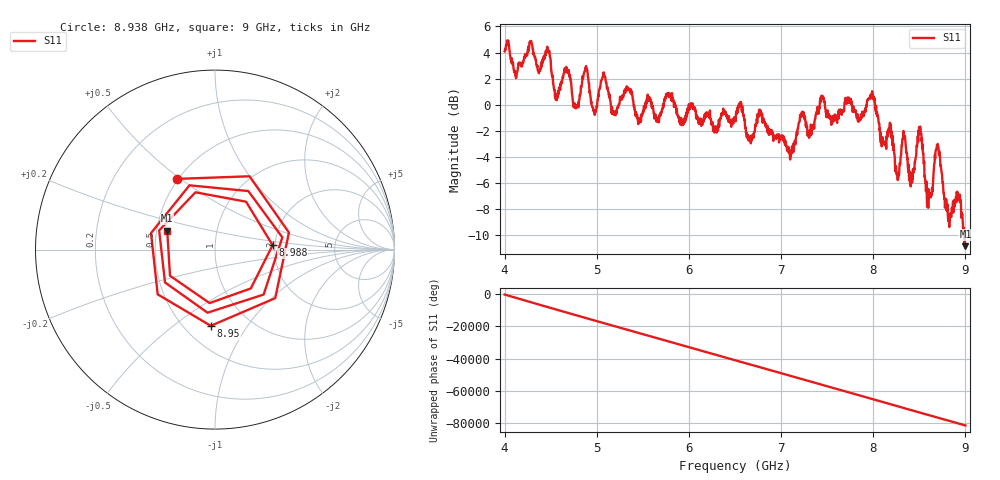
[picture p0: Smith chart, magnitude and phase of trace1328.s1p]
! Created with skrf 1.8.0 (http://scikit-rf.org).
# Hz S RI R 50.0
!freq ReS11 ImS11
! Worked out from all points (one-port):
!   1601 points, 4 GHz to 9 GHz, reference 50 ohm
!   lowest |S11| = -10.9 dB at 9 GHz (marker M1), VSWR 1.80, Z = 28.4 + j6.56 ohm
!   |S11| at or under -10 dB: 8.988603 GHz to end of sweep
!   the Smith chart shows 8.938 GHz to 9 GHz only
!   S11 on the Smith chart (normalised r, x): 8.938 GHz: 0.49, +0.49; 8.95 GHz: 0.67, -0.69; 8.988 GHz: 1.94, +0.11; 9 GHz: 0.57, +0.13
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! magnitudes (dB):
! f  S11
! 4 GHz  4.1
! 4.122 GHz  2.1
! 4.466 GHz  4.4
! 4.553 GHz  0.4
! 4.625 GHz  1.8
! 4.772 GHz  0.0
! 4.878 GHz  2.8
! 4.969 GHz  -0.5
! 5.069 GHz  2.3
! 5.25 GHz  0.4
! 5.875 GHz  -0.8
! 6.5 GHz  -1.2
! 7.125 GHz  -3.4
! 7.225 GHz  -0.6
! 7.75 GHz  0.5
! 7.991 GHz  0.9
! 8.259 GHz  -5.2
! 8.331 GHz  -2.3
! 8.375 GHz  -4.7
! 8.422 GHz  -6.0
! 8.506 GHz  -2.1
! 8.606 GHz  -6.7
! 8.7 GHz  -3.0
! 8.822 GHz  -8.6
! 8.938 GHz  -7.0
! 8.95 GHz  -7.4
! 8.988 GHz  -9.8
! 9 GHz  -10.9
